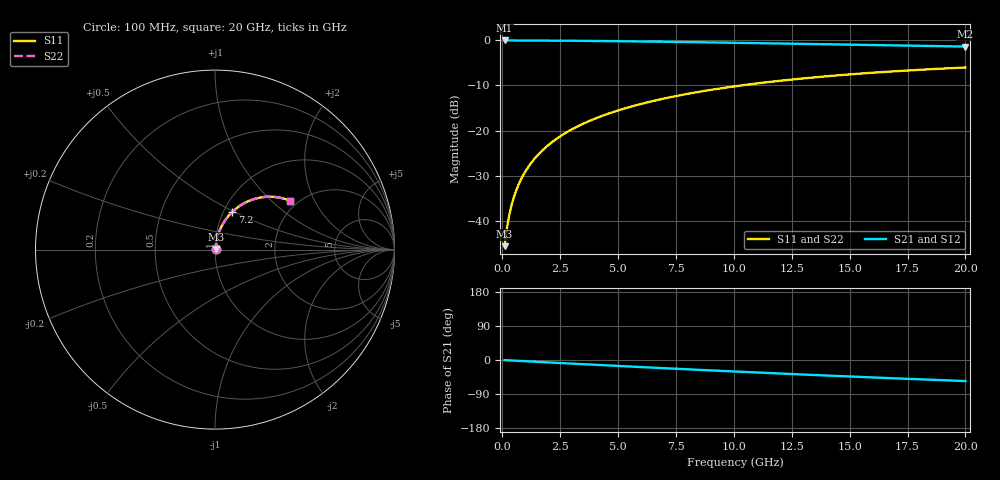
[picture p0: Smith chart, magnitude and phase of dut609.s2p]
! Touchstone file exported from HFSS 2026.1.0
!  File:  C:/ffzhzh/LocalFiles/Ansys_Project_Files/temp_train_TMRDL_609_1783008753_53980.aedt
!  Generated:  12:14:13 AM Jul  3, 2026
!  Design:  TMRDL
!  Project:  temp_train_TMRDL_609_1783008753_53980
! Variables:
!  h_bsmrdl = 2um
!  h_ox = 20um
!  h_rdl = 5um
!  h_sub = 80um
!  h_tmrdl = 4.84um
!  h_tsv = 80um
!  h_via = 3um
!  l_bsmrdl = 300um
!  l_sub = 1251.47um
!  l_tmrdl = 851.47um
!  m_sub = 200um
!  pitch = 47.36um
!  r_tsv = 6um
!  s_tmrdl = 10um
!  w_bsmrdl = 18um
!  w_sub = 500um
!  w_tmrdl = 17.42um
!  x_tsv_center1 = 860.18um
!  x_tsv_center2 = 1178.18um
!  x_tsv_center3 = 2047.07um
!  x_tsv_center4 = 2365.07um
!  x_tsv_center5 = 3233.96um
!  x_tsv_center6 = 3551.96um
# GHz S MA R 50.000000
! Terminal data exported
! Port[1] = TM_RDL1_1_T1
! Port[2] = TM_RDL1_1_T2
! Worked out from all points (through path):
!   200 points, 100 MHz to 20 GHz, reference 50 ohm
!   highest |S21| = -0.03 dB at 100 MHz (marker M1); lowest = -1.4 dB at 20 GHz (marker M2)
!   group delay of S21, straight-line fit = 7.72 ps
!   lowest |S11| = -45.6 dB at 100 MHz (marker M3), VSWR 1.01, Z = 50.4 + j0.372 ohm
!   |S11| at or under -10 dB: start of sweep to 10.33 GHz
!   |S22| runs from -45.6 to -6.0 dB; largest |S21 - S12| = 4.5e-15
!   S11 on the Smith chart (normalised r, x): 100 MHz: 1.01, +0.01; 7.2 GHz: 1.10, +0.49; 20 GHz: 1.83, +1.32
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0.1  0.00523 44.9  0.9963 -0.3  0.9963 -0.3  0.00523 44.9
! Gamma 0 0 0 0
! Port Impedance 50 0 50 0
0.2  0.008275 61.7  0.9961 -0.7  0.9961 -0.7  0.008275 61.7
0.3  0.01156 68.8  0.9959 -1.0  0.9959 -1.0  0.01156 68.8
0.4  0.0149 72.6  0.9958 -1.3  0.9958 -1.3  0.0149 72.6
0.5  0.01827 75.0  0.9956 -1.6  0.9956 -1.6  0.01827 75.0
0.6  0.02165 76.6  0.9955 -1.9  0.9955 -1.9  0.02165 76.6
0.8  0.02846 78.4  0.9952 -2.6  0.9952 -2.6  0.02846 78.4
1.1  0.03871 79.6  0.9946 -3.5  0.9946 -3.5  0.03871 79.6
1.5  0.05239 79.8  0.9937 -4.8  0.9937 -4.8  0.05239 79.8
1.8  0.06262 79.5  0.9929 -5.8  0.9929 -5.8  0.06262 79.5
2.1  0.07279 79.0  0.992 -6.7  0.992 -6.7  0.07279 79.0
2.7  0.09294 77.7  0.9897 -8.6  0.9897 -8.6  0.09293 77.7
3.5  0.1193 75.6  0.9861 -11.1  0.9861 -11.1  0.1193 75.6
4.2  0.1418 73.7  0.9824 -13.3  0.9824 -13.3  0.1418 73.7
5  0.167 71.4  0.9776 -15.7  0.9776 -15.7  0.167 71.4
6.8  0.2211 66.3  0.9654 -21.1  0.9654 -21.1  0.221 66.4
7.2  0.2326 65.2  0.9624 -22.3  0.9624 -22.3  0.2326 65.2
8.6  0.2715 61.4  0.9514 -26.3  0.9514 -26.3  0.2715 61.4
10.1  0.3106 57.3  0.9388 -30.5  0.9388 -30.5  0.3106 57.3
13.4  0.3869 48.7  0.9093 -39.4  0.9093 -39.4  0.3869 48.7
16.7  0.4498 40.6  0.8798 -47.8  0.8798 -47.8  0.4497 40.6
20  0.4998 32.9  0.8526 -55.6  0.8526 -55.6  0.4998 32.9
